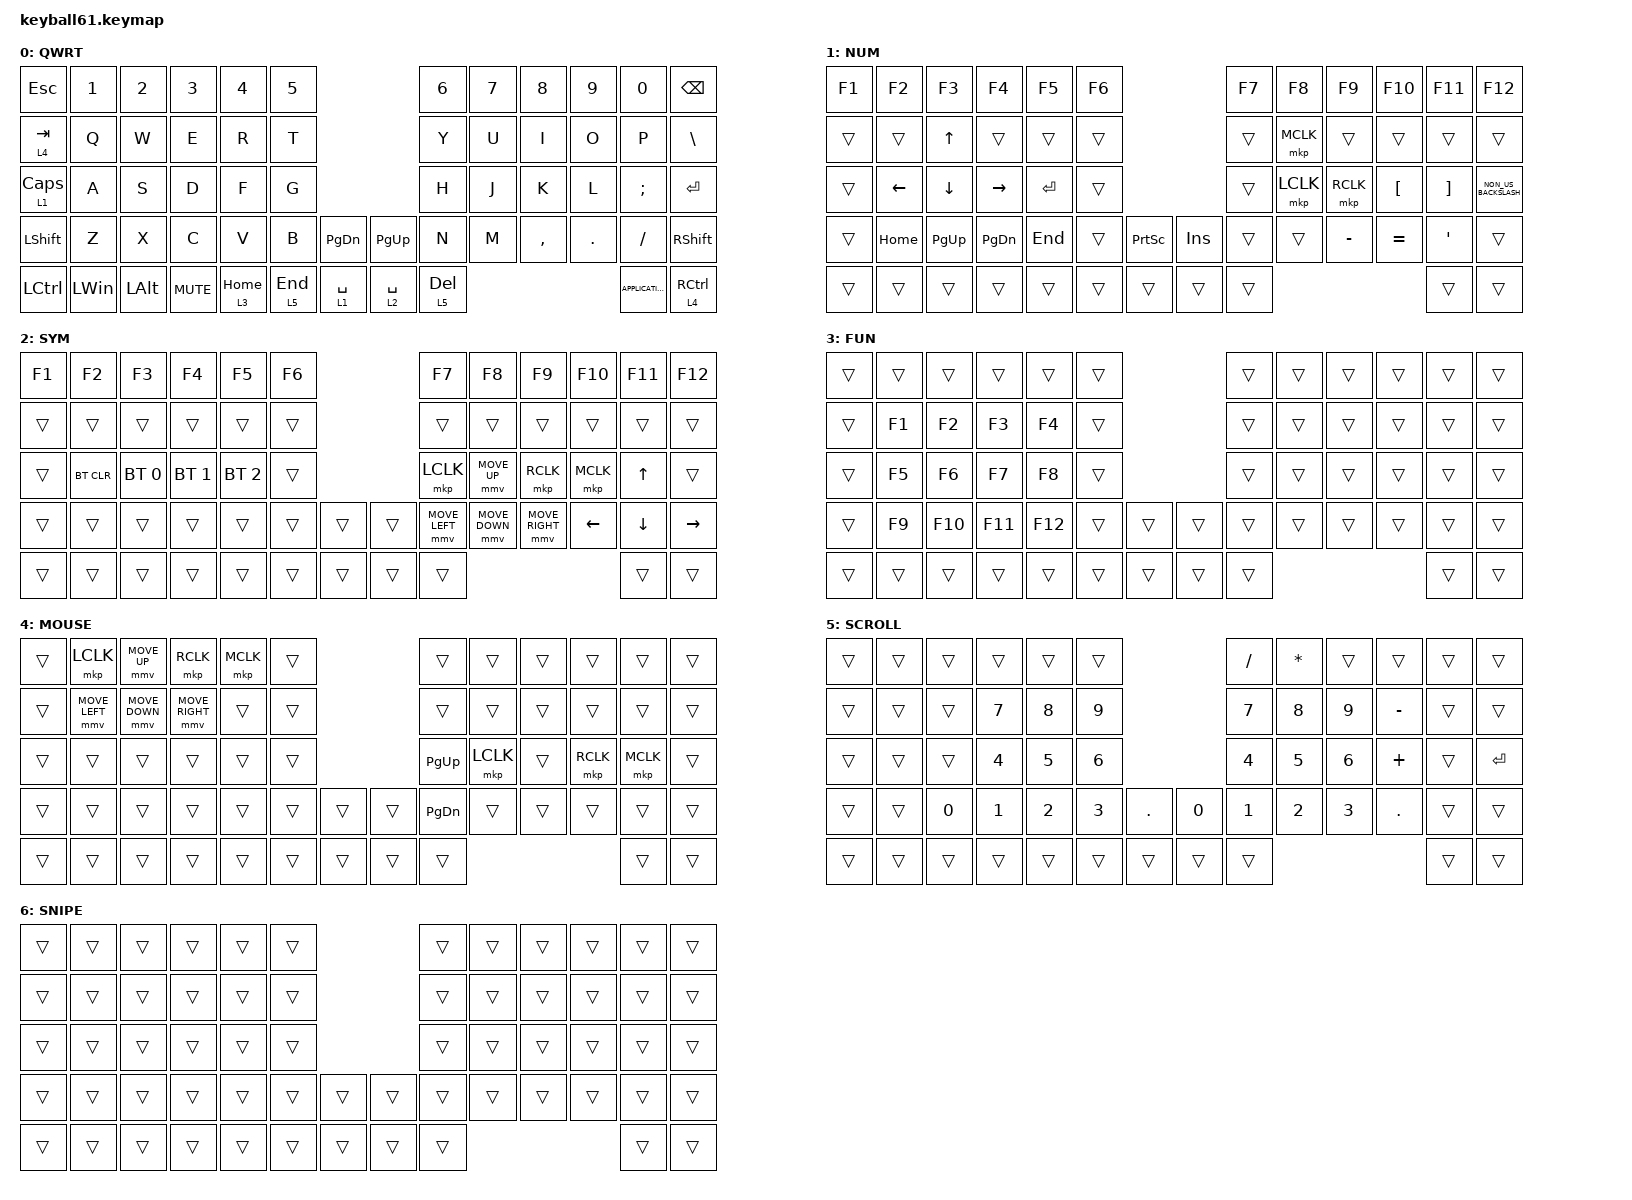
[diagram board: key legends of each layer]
#define DEFAULT 0
#define SYM     1
#define FUN     2
#define MOUSE   3
#define SCROLL  4
#define SNIPE   5

#include <behaviors/mouse_keys.dtsi>
#include <dt-bindings/zmk/mouse.h>
#include <behaviors.dtsi>
#include <dt-bindings/zmk/bt.h>
#include <dt-bindings/zmk/keys.h>
#include <dt-bindings/zmk/pointing.h>

&lt {
    tapping-term-ms = <240>;
    flavor = "balanced";
    quick-tap-ms = <150>;
};

&mt {
    tapping-term-ms = <200>;
    flavor = "tap-preferred";
    quick-tap-ms = <150>;
};

/ {
    keymap {
        compatible = "zmk,keymap";

        default_layer {
            label = "QWRT";
            bindings = <
&kp ESC         &kp N1        &kp N2        &kp N3      &kp N4      &kp N5                                 &kp N6     &kp N7  &kp N8     &kp N9   &kp N0             &kp BSPC
&lt 4 TAB       &kp Q         &kp W         &kp E       &kp R       &kp T                                  &kp Y      &kp U   &kp I      &kp O    &kp P              &kp BACKSLASH
&lt 1 CAPSLOCK  &kp A         &kp S         &kp D       &kp F       &kp G                                  &kp H      &kp J   &kp K      &kp L    &kp SEMI           &kp ENTER
&kp LEFT_SHIFT  &kp Z         &kp X         &kp C       &kp V       &kp B      &kp PAGE_DOWN  &kp PAGE_UP  &kp N      &kp M   &kp COMMA  &kp DOT  &kp FSLH           &kp RIGHT_SHIFT
&kp LCTRL       &kp LEFT_WIN  &kp LEFT_ALT  &kp C_MUTE  &lt 3 HOME  &lt 5 END  &lt 1 SPACE    &lt 2 SPACE  &lt 5 DEL                              &kp K_APPLICATION  &lt 4 RIGHT_CONTROL
            >;
        };

        number_layer {
            bindings = <
&kp F1  &kp F2    &kp F3        &kp F4         &kp F5     &kp F6                            &kp F7  &kp F8     &kp F9     &kp F10           &kp F11            &kp F12
&trans  &trans    &kp UP_ARROW  &trans         &trans     &trans                            &trans  &mkp MCLK  &trans     &trans            &trans             &trans
&trans  &kp LEFT  &kp DOWN      &kp RIGHT      &kp ENTER  &trans                            &trans  &mkp LCLK  &mkp RCLK  &kp LEFT_BRACKET  &kp RIGHT_BRACKET  &kp NON_US_BACKSLASH
&trans  &kp HOME  &kp PAGE_UP   &kp PAGE_DOWN  &kp END    &trans  &kp PRINTSCREEN  &kp INS  &trans  &trans     &kp MINUS  &kp EQUAL         &kp SQT            &trans
&trans  &trans    &trans        &trans         &trans     &trans  &trans           &trans   &trans                                          &trans             &trans
            >;

            label = "NUM";
        };

        symbol_layer {
            label = "SYM";
            bindings = <
&kp F1  &kp F2      &kp F3        &kp F4        &kp F5        &kp F6                  &kp F7          &kp F8          &kp F9           &kp F10    &kp F11       &kp F12
&trans  &trans      &trans        &trans        &trans        &trans                  &trans          &trans          &trans           &trans     &trans        &trans
&trans  &bt BT_CLR  &bt BT_SEL 0  &bt BT_SEL 1  &bt BT_SEL 2  &trans                  &mkp LCLK       &mmv MOVE_UP    &mkp RCLK        &mkp MCLK  &kp UP_ARROW  &trans
&trans  &trans      &trans        &trans        &trans        &trans  &trans  &trans  &mmv MOVE_LEFT  &mmv MOVE_DOWN  &mmv MOVE_RIGHT  &kp LEFT   &kp DOWN      &kp RIGHT
&trans  &trans      &trans        &trans        &trans        &trans  &trans  &trans  &trans                                                      &trans        &trans
            >;
        };

        function_layer {
            label = "FUN";
            bindings = <
&trans  &trans  &trans   &trans   &trans   &trans                  &trans  &trans  &trans  &trans  &trans  &trans
&trans  &kp F1  &kp F2   &kp F3   &kp F4   &trans                  &trans  &trans  &trans  &trans  &trans  &trans
&trans  &kp F5  &kp F6   &kp F7   &kp F8   &trans                  &trans  &trans  &trans  &trans  &trans  &trans
&trans  &kp F9  &kp F10  &kp F11  &kp F12  &trans  &trans  &trans  &trans  &trans  &trans  &trans  &trans  &trans
&trans  &trans  &trans   &trans   &trans   &trans  &trans  &trans  &trans                          &trans  &trans
            >;
        };

        mouse_layer {
            label = "MOUSE";
            bindings = <
&trans  &mkp LCLK       &mmv MOVE_UP    &mkp RCLK        &mkp MCLK  &trans                  &trans         &trans     &trans  &trans     &trans     &trans
&trans  &mmv MOVE_LEFT  &mmv MOVE_DOWN  &mmv MOVE_RIGHT  &trans     &trans                  &trans         &trans     &trans  &trans     &trans     &trans
&trans  &trans          &trans          &trans           &trans     &trans                  &kp PAGE_UP    &mkp LCLK  &trans  &mkp RCLK  &mkp MCLK  &trans
&trans  &trans          &trans          &trans           &trans     &trans  &trans  &trans  &kp PAGE_DOWN  &trans     &trans  &trans     &trans     &trans
&trans  &trans          &trans          &trans           &trans     &trans  &trans  &trans  &trans                                       &trans     &trans
            >;
        };

        scroll_layer {
            label = "SCROLL";
            bindings = <
&trans  &trans  &trans  &trans  &trans  &trans                   &kp SLASH  &kp ASTERISK  &trans  &trans     &trans  &trans
&trans  &trans  &trans  &kp N7  &kp N8  &kp N9                   &kp N7     &kp N8        &kp N9  &kp MINUS  &trans  &trans
&trans  &trans  &trans  &kp N4  &kp N5  &kp N6                   &kp N4     &kp N5        &kp N6  &kp PLUS   &trans  &kp RETURN
&trans  &trans  &kp N0  &kp N1  &kp N2  &kp N3  &kp DOT  &kp N0  &kp N1     &kp N2        &kp N3  &kp DOT    &trans  &trans
&trans  &trans  &trans  &trans  &trans  &trans  &trans   &trans  &trans                                      &trans  &trans
            >;
        };

        snipe_layer {
            label = "SNIPE";
            bindings = <
&trans  &trans  &trans  &trans  &trans  &trans                  &trans  &trans  &trans  &trans  &trans  &trans
&trans  &trans  &trans  &trans  &trans  &trans                  &trans  &trans  &trans  &trans  &trans  &trans
&trans  &trans  &trans  &trans  &trans  &trans                  &trans  &trans  &trans  &trans  &trans  &trans
&trans  &trans  &trans  &trans  &trans  &trans  &trans  &trans  &trans  &trans  &trans  &trans  &trans  &trans
&trans  &trans  &trans  &trans  &trans  &trans  &trans  &trans  &trans                          &trans  &trans
            >;
        };
    };
};
